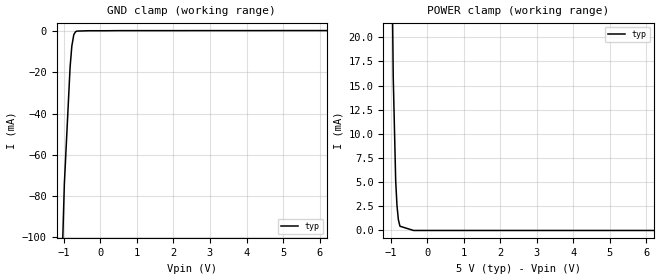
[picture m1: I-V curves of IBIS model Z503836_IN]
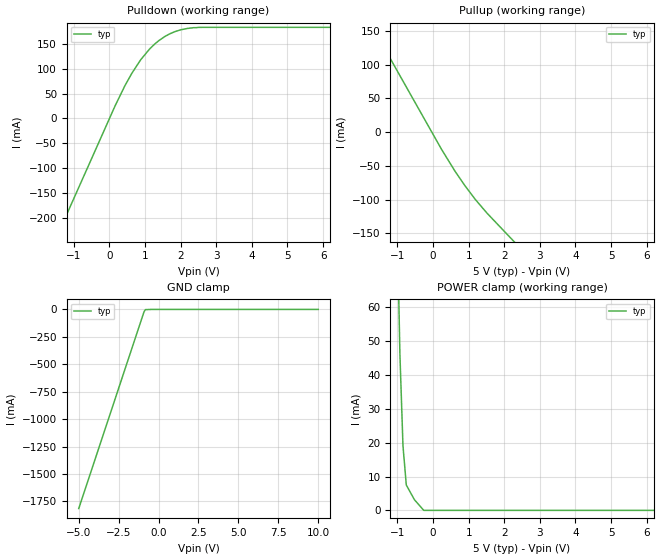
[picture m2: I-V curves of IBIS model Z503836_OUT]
| YOU ARE ONLY AUTHORIZED TO USE THIS SOFTWARE
| ACCORDING TO LICENSOR'S LICENSE RESTRICTIONS.
[IBIS Ver] 3.1
[File Name] mc74act160d.ibs
[File Rev] 2.0
[Source] Measured and created by ICX Technology
[Date] Friday 7/14/00 9:08:01 AM
[Copyright]
| (C) COPYRIGHT 1993-2000
| MENTOR GRAPHICS CORPORATION
| ICX STANDARD LIBRARY, ICX PROJECT MODELING,
| ICX CUSTOM MODELING, ICX VENDOR MODEL
| ALL RIGHTS RESERVED.
| THE FOLLOWING ARE TRADEMARKS OR SERVICE MARKS OF
| MENTOR GRAPHICS CORPORATION:ICX (R), ICX STANDARD
| LIBRARY(R), ICX PROJECT MODELING(R), ICX CUSTOM
| MODELING(R), qualityIBIS(TM), MODELVIEWER(TM),
| AND MODELEDITOR(TM)
| ALL COPIES OF SOFTWARE, INCLUDING BUT NOT LIMITED TO
| ANY MODIFICATIONS, ENHANCEMENTS OR DERIVATIVE WORKS,
| MUST CONTAIN ALL MENTOR GRAPHICS CORPORATION'S
| NOTICES AND LEGENDS, INCLUDING THOSE EMBEDDED IN
| SOFTWARE AND THOSE AFFIXED TO SOFTWARE MEDIUM
| AND CONTAINER, AS RECEIVED FROM MENTOR GRAPHICS
| CORPORATION.
|  ZAP Model Builder 2.7
[Component] MC74ACT160D
[Manufacturer] OnSemiconductor
[Package]
| variable   typ   min   max
R_pkg  .156ohms NA NA
L_pkg  3.148nH NA NA
C_pkg  .388pF NA NA
[Pin] signal_name  model_name  R_pin  L_pin C_pin
1 _CLR Z503836_IN .162 3.798n .418p
2 CLK Z503836_IN .158 3.358n .398p
3 A Z503836_IN .154 2.928n .378p
4 B Z503836_IN .15 2.508n .358p
5 C Z503836_IN .15 2.508n .358p
6 D Z503836_IN .154 2.928n .378p
7 ENP Z503836_IN .158 3.358n .398p
8 GND GND .162 3.798n .418p
9 _LOAD Z503836_IN .162 3.798n .418p
10 ENT Z503836_IN .158 3.358n .398p
11 QD Z503836_OUT .154 2.928n .378p
12 QC Z503836_OUT .15 2.508n .358p
13 QB Z503836_OUT .15 2.508n .358p
14 QA Z503836_OUT .154 2.928n .378p
15 RCO Z503836_OUT .158 3.358n .398p
16 VCC POWER .162 3.798n .418p
| Models and submodels in the file (2): Z503836_IN (Input), Z503836_OUT (Output)
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| (C) COPYRIGHT 1993-2000
| MENTOR GRAPHICS CORPORATION
| ICX STANDARD LIBRARY, ICX PROJECT MODELING,
| ICX CUSTOM MODELING, ICX VENDOR MODEL
| ALL RIGHTS RESERVED.
| THE FOLLOWING ARE TRADEMARKS OR SERVICE MARKS OF
| MENTOR GRAPHICS CORPORATION:ICX (R), ICX STANDARD
| LIBRARY(R), ICX PROJECT MODELING(R), ICX CUSTOM
| MODELING(R), qualityIBIS(TM), MODELVIEWER(TM),
| AND MODELEDITOR(TM)
| ALL COPIES OF SOFTWARE, INCLUDING BUT NOT LIMITED TO
| ANY MODIFICATIONS, ENHANCEMENTS OR DERIVATIVE WORKS,
| MUST CONTAIN ALL MENTOR GRAPHICS CORPORATION'S
| NOTICES AND LEGENDS, INCLUDING THOSE EMBEDDED IN
| SOFTWARE AND THOSE AFFIXED TO SOFTWARE MEDIUM
| AND CONTAINER, AS RECEIVED FROM MENTOR GRAPHICS
| CORPORATION.
| Model Application Version 1.89 2/18/99.
[Model] Z503836_IN
Model_type Input
Vinl = 800.0mV
Vinh = 2.000V
C_comp 4.000pF NA NA
| variable typ   min   max
[Voltage Range] 5.000V NA NA
[GND Clamp Reference] 0.000V NA NA
[POWER Clamp Reference] 5.000V NA NA
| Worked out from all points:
|   GND clamp passes 1 mA (typ) near -0.70 V on its own axis
|   POWER clamp passes 1 mA (typ) near -0.78 V on its own axis
[GND Clamp]
-5V       -3.335A    NA         NA
-1.048V   -112.1mA   NA         NA
-828.7mV  -17.51mA   NA         NA
-781mV    -7.325mA   NA         NA
-727.6mV  -1.836mA   NA         NA
-684.2mV  -523.1uA   NA         NA
-645.1mV  -92.12uA   NA         NA
10V       164.7uA    NA         NA
[POWER Clamp]
-5V       2.741A     NA         NA
-1.123V   100.6mA    NA         NA
-1.02V    46.53mA    NA         NA
-931mV    15.91mA    NA         NA
-864mV    5.167mA    NA         NA
-828mV    2.557mA    NA         NA
-791mV    1.133mA    NA         NA
-747mV    439.4uA    NA         NA
-373.5mV  0A         NA         NA
10V       0A         NA         NA
| (C) COPYRIGHT 1993-2000
| MENTOR GRAPHICS CORPORATION
| ICX STANDARD LIBRARY, ICX PROJECT MODELING,
| ICX CUSTOM MODELING, ICX VENDOR MODEL
| ALL RIGHTS RESERVED.
| THE FOLLOWING ARE TRADEMARKS OR SERVICE MARKS OF
| MENTOR GRAPHICS CORPORATION:ICX (R), ICX STANDARD
| LIBRARY(R), ICX PROJECT MODELING(R), ICX CUSTOM
| MODELING(R), qualityIBIS(TM), MODELVIEWER(TM),
| AND MODELEDITOR(TM)
| ALL COPIES OF SOFTWARE, INCLUDING BUT NOT LIMITED TO
| ANY MODIFICATIONS, ENHANCEMENTS OR DERIVATIVE WORKS,
| MUST CONTAIN ALL MENTOR GRAPHICS CORPORATION'S
| NOTICES AND LEGENDS, INCLUDING THOSE EMBEDDED IN
| SOFTWARE AND THOSE AFFIXED TO SOFTWARE MEDIUM
| AND CONTAINER, AS RECEIVED FROM MENTOR GRAPHICS
| CORPORATION.
| Model Application Version 1.89 2/18/99.
[Model] Z503836_OUT
Model_type Output
Vref=0.000V
Rref=500.0ohms
Cref=50.00pF
Vmeas=1.500V
C_comp 8.000pF NA NA
| variable typ   min   max
[Voltage Range] 5.000V NA NA
[POWER Clamp Reference] 5.000V NA NA
[Pullup Reference] 5.000V NA NA
[Pulldown Reference] 0.000V NA NA
[GND Clamp Reference] 0.000V NA NA
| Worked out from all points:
|   slope of the pulldown table from 0 to 0.75 V, typ, clamps not added: 7.21 ohm
|   slope of the pullup table from 0 to 0.75 V, typ, clamps not added: 11.6 ohm
[GND Clamp]
-5V       -1.814A    NA         NA
-908.1mV  -20.12mA   NA         NA
-825mV    -1.847mA   NA         NA
-412.5mV  0A         NA         NA
10V       0A         NA         NA
[Pulldown]
-5V       -801.9mA   NA         NA
161.2mV   25.8mA     NA         NA
434.7mV   65.89mA    NA         NA
628.5mV   90.73mA    NA         NA
879.7mV   118.1mA    NA         NA
1.133V    139.9mA    NA         NA
1.394V    156.6mA    NA         NA
1.565V    164.9mA    NA         NA
1.855V    174.7mA    NA         NA
2.187V    180.6mA    NA         NA
2.505V    182.8mA    NA         NA
10V       182.9mA    NA         NA
[Pullup]
-5V       463.6mA    NA         NA
236mV     -25.35mA   NA         NA
620mV     -58.24mA   NA         NA
898mV     -79.6mA    NA         NA
1.193V    -100.2mA   NA         NA
1.514V    -120mA     NA         NA
10V       -590.3mA   NA         NA
[POWER Clamp]
-5V       2.714A     NA         NA
-1.04V    102mA      NA         NA
-931mV    46.07mA    NA         NA
-845mV    19.07mA    NA         NA
-752mV    7.487mA    NA         NA
-522mV    3.125mA    NA         NA
-261mV    0A         NA         NA
10V       0A         NA         NA
[Ramp]
| variable typ min max
dV/dt_r 2.958/362.3p NA NA
dV/dt_f 2.958/384.0p NA NA
R_load = 500.0Ohms
